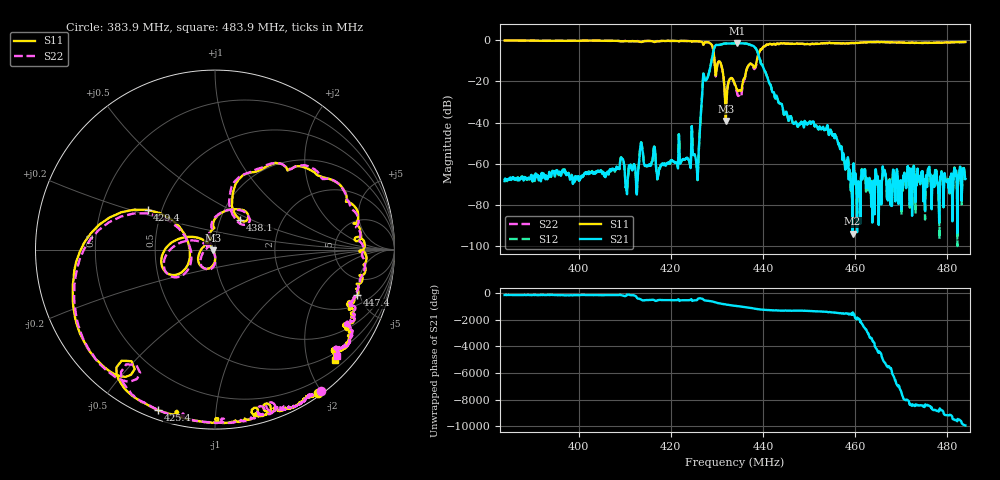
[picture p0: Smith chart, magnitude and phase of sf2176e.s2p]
# Hz S RI R 50
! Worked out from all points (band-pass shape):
!   1601 points, 383.9 MHz to 483.9 MHz, reference 50 ohm
!   highest |S21| = -1.44 dB at 434.4 MHz (marker M1); lowest = -94.0 dB at 459.4 MHz (marker M2)
!   |S21| within 3 dB of the highest: 429.3 MHz to 438.6 MHz (9.235 MHz wide, 2.13 % of centre)
!   lowest |S11| = -39.1 dB at 431.9 MHz (marker M3), VSWR 1.02, Z = 49 - j0.47 ohm
!   |S11| at or under -10 dB: 429.5 MHz to 438.7 MHz (9.184 MHz wide, 2.12 % of centre)
!   |S22| runs from -35.7 to -0.1 dB; largest |S21 - S12| = 0.0038
!   S11 on the Smith chart (normalised r, x): 383.9 MHz: 0.04, -1.95; 425.4 MHz: 0.04, -0.70; 429.4 MHz: 0.42, +0.23; 438.1 MHz: 1.24, +0.43; 447.4 MHz: 2.84, -4.73; 483.9 MHz: 0.35, -2.52
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3.8392e8  0.574 -0.801  -0.000336 -0.00018  -0.000329 -0.00021  0.5921 -0.7894
4.006075e8  0.4701 -0.8546  -0.000444 -0.000261  -0.000429 -0.000264  0.4916 -0.8464
4.0942e8  0.3421 -0.8791  -0.00134 4.95e-05  -0.00132 3.82e-05  0.373 -0.8666
4.104825e8  0.3286 -0.8857  -0.000155 -9.77e-05  -0.000196 -8.11e-05  0.3543 -0.8935
4.136075e8  0.2917 -0.8575  -0.00296 -0.00129  -0.00296 -0.00133  0.3049 -0.8518
4.17295e8  0.2241 -0.9153  -0.000544 -8.87e-05  -0.000551 -7.04e-05  0.2416 -0.917
4.2542e8  -0.3189 -0.8952  -0.00129 0.000237  -0.00131 0.00027  -0.2847 -0.907
4.271075e8  -0.4473 -0.6656  -0.1368 -0.0704  -0.137 -0.072  -0.4169 -0.6867
4.293575e8  -0.3751 0.2208  0.4239 0.4501  0.4262 0.448  -0.3795 0.2022
4.307325e8  -0.2889 -0.018  0.2139 -0.7482  0.2128 -0.7506  -0.2781 -0.0438
4.3192e8  -0.00995 -0.00479  -0.6868 -0.4807  -0.6842 -0.4809  -0.0106 -0.0125
4.3392e8  -0.0838 -0.0121  -0.3744 0.7493  -0.3751 0.7502  -0.0736 -0.0317
4.3442e8  -0.0566 0.0233  -0.0506 0.8462  -0.0503 0.8468  -0.0499 0.00301
4.363575e8  0.00826 0.1822  0.828 0.0667  0.8286 0.0665  -0.000409 0.1795
4.381075e8  0.139 0.1654  0.0358 -0.6946  0.0355 -0.6914  0.1318 0.1502
4.404825e8  0.6143 0.4002  -0.1698 0.0334  -0.1688 0.033  0.601 0.3925
4.4742e8  0.7933 -0.2548  -0.00307 0.00783  -0.00309 0.0078  0.7872 -0.2379
4.506075e8  0.7596 -0.3089  0.000956 0.0103  0.000856 0.0103  0.7572 -0.3
4.5567e8  0.741 -0.4207  0.00398 -0.00314  0.00397 -0.0031  0.7494 -0.414
4.5942e8  0.7335 -0.4448  -1.99e-05 2.49e-06  -5.1e-05 -6.63e-06  0.7401 -0.4275
4.67295e8  0.6946 -0.5599  2.04e-05 -0.000156  1.21e-05 -0.00016  0.7131 -0.5444
4.8392e8  0.6692 -0.6169  -0.000364 0.000229  -0.000345 0.000235  0.6794 -0.5906
